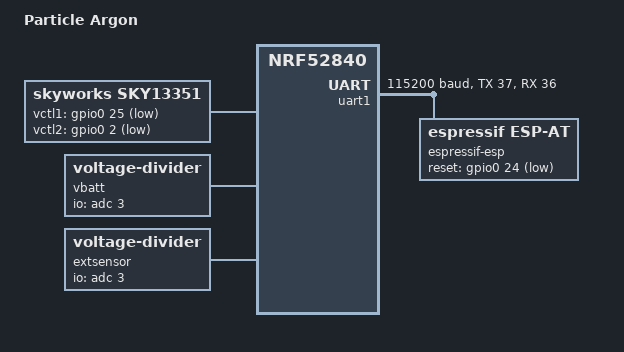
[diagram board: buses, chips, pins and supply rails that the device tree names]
/*
 * Copyright (c) 2018 Matthias Boesl
 * Copyright (c) 2018 Peter Bigot Consulting, LLC
 *
 * SPDX-License-Identifier: Apache-2.0
 */

/dts-v1/;
#include <nordic/nrf52840_qiaa.dtsi>
#include "mesh_feather.dtsi"

/ {
	model = "Particle Argon";
	compatible = "particle,argon", "particle,feather";

	aliases {


	
		// i2c-0 = &i2c0;
		// i2c-1 = &i2c1;
		// spi-0 = &spi0;
		// spi-1 = &spi1;
		// uart-0 = &uart0;
		uart-1 = &uart1;
		adc-0 = &adc;
		gpio-0 = &gpio0;
		// gpiote-0 = &gpiote;
		// wdt-0 = &wdt;
		// qdec-0 = &qdec;
		// rtc-0 = &rtc0;
		// rtc-1 = &rtc1;
		// timer-0 = &timer0;
		// timer-1 = &timer1;
		// timer-2 = &timer2;
	};

	sky13351 {
		compatible = "skyworks,sky13351";
		vctl1-gpios = <&gpio0 25 GPIO_ACTIVE_LOW>;
		vctl2-gpios = <&gpio0 2 GPIO_ACTIVE_LOW>;
	};

	vbatt {
		compatible = "voltage-divider";
		io-channels = <&adc 3>;
		output-ohms = <2100000>;
		full-ohms = <(2100000 + 806000)>;
	};

	/* this is the creation of a voltge divider for external sensors 
	* see PR #21606 */
	extsensor {
		compatible = "voltage-divider";
		io-channels = <&adc 3>;
		output-ohms = <2100000>;
		full-ohms = <(2100000 + 806000)>;
	};	
};

&uart1 { /* ESP32 */
	compatible = "nordic,nrf-uarte";
	// current-speed = <921600>;
	current-speed = <115200>;
	status = "okay";
	tx-pin = <37>;
	rx-pin = <36>;
	rts-pin = <39>;
	cts-pin = <38>;


	esp {
		// compatible = "espressif,esp";
		compatible = "espressif,esp-at";
		status = "okay";
		label = "espressif-esp";
		target-speed=<115200>;

		reset-gpios = <&gpio0 24 GPIO_ACTIVE_LOW>;
		// wifi-reset-gpios = <&gpio0 24 0>;
		// wifi-uart-speed = <115200>;
	};	
};
